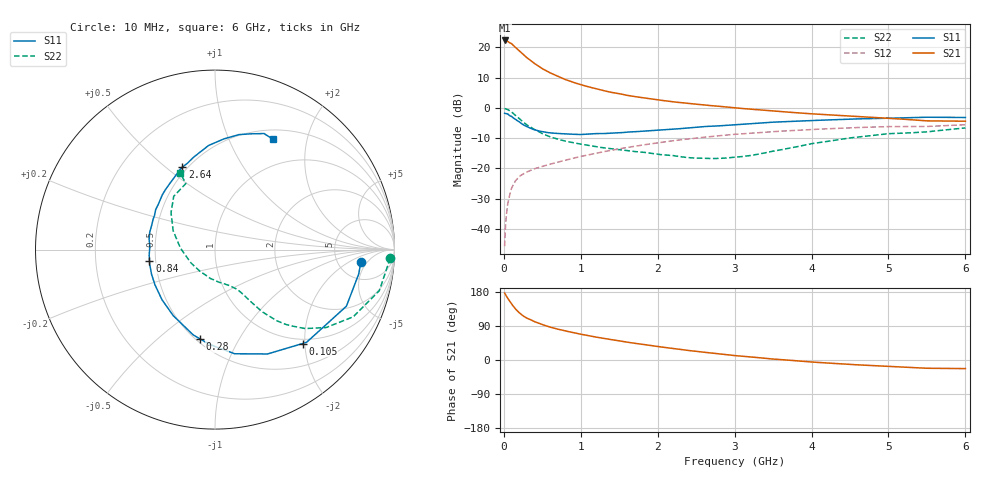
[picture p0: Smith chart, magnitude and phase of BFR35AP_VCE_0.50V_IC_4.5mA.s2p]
! Infineon Technologies  Discrete & RF Semiconductors
! BFR35AP
! VCE = 0.50 V,  IC =  4.5 mA
! Common Emitter S-Parameters:  Nov 2015
# GHz  S  MA  R  50
!  f  S11  S21  S12  S22
! GHz  MAG  ANG  MAG  ANG  MAG  ANG  MAG  ANG
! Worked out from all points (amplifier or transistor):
!   210 points, 10 MHz to 6 GHz, reference 50 ohm
!   highest |S21| = 22.3 dB at 10 MHz (marker M1)
!   |S21| within 3 dB of that: start of sweep to 182.5 MHz
!   unconditionally stable (mu >= 1): 671.6 MHz to end of sweep
!   at 185 MHz: K = 0.39, MSG = 21.2 dB, |S12| = -23.1 dB
!   at 1.52 GHz: K = 1.23, MAG = 6.1 dB, |S12| = -13.4 dB
!   at 6 GHz: K = 1.09, MAG = -1.2 dB, |S12| = -5.6 dB
!   S11 on the Smith chart (normalised r, x): 10 MHz: 8.45, -3.46; 105 MHz: 0.91, -1.95; 280 MHz: 0.52, -0.70; 840 MHz: 0.46, -0.07; 2.64 GHz: 0.47, +0.57; 6 GHz: 0.62, +1.47
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0.01  0.8163 -4.8  13.01 176.7  0.0052 87.2  0.9778 -2.8
0.02  0.812 -9.7  12.88 172.8  0.0102 85.5  0.965 -5.7
0.05  0.7972 -23.3  12.55 162.9  0.0255 77.2  0.9437 -14.0
0.1  0.726 -45.4  11.54 147.5  0.0469 67.3  0.8567 -25.9
0.105  0.7156 -47.0  11.37 146.4  0.0484 66.2  0.8458 -26.7
0.15  0.6509 -63.3  10.04 134.5  0.0621 58.8  0.7568 -35.0
0.2  0.5906 -79.3  8.815 124.6  0.0734 53.9  0.668 -41.2
0.24  0.5391 -90.2  7.895 118.2  0.0794 50.8  0.602 -44.9
0.28  0.504 -99.7  7.109 112.9  0.0849 49.0  0.5483 -47.8
0.3  0.4907 -104.3  6.743 110.3  0.0875 48.4  0.5235 -49.1
0.4  0.4355 -122.3  5.398 101.0  0.099 46.4  0.4389 -52.6
0.5  0.4063 -136.7  4.45 93.2  0.1081 46.0  0.376 -54.7
0.62  0.3853 -151.4  3.706 85.8  0.1192 46.5  0.3273 -56.4
0.84  0.3701 -170.5  2.821 75.0  0.1411 47.2  0.2759 -59.0
1.02  0.3648 176.0  2.38 67.4  0.1597 47.6  0.2498 -61.5
1.4  0.3839 154.3  1.805 53.7  0.2 46.8  0.2117 -69.7
2.02  0.4322 130.2  1.349 35.0  0.2674 42.2  0.1702 -90.7
2.64  0.4942 111.6  1.106 19.7  0.3312 35.4  0.1466 -125.9
3.1  0.5371 101.1  0.978 10.0  0.3736 29.2  0.1572 -158.9
4.1  0.6252 83.9  0.785 -6.5  0.446 16.1  0.2672 151.9
5.1  0.6803 71.5  0.663 -17.9  0.4912 3.3  0.3789 124.9
6  0.6947 62.2  0.603 -22.7  0.5275 -5.5  0.4669 114.4
